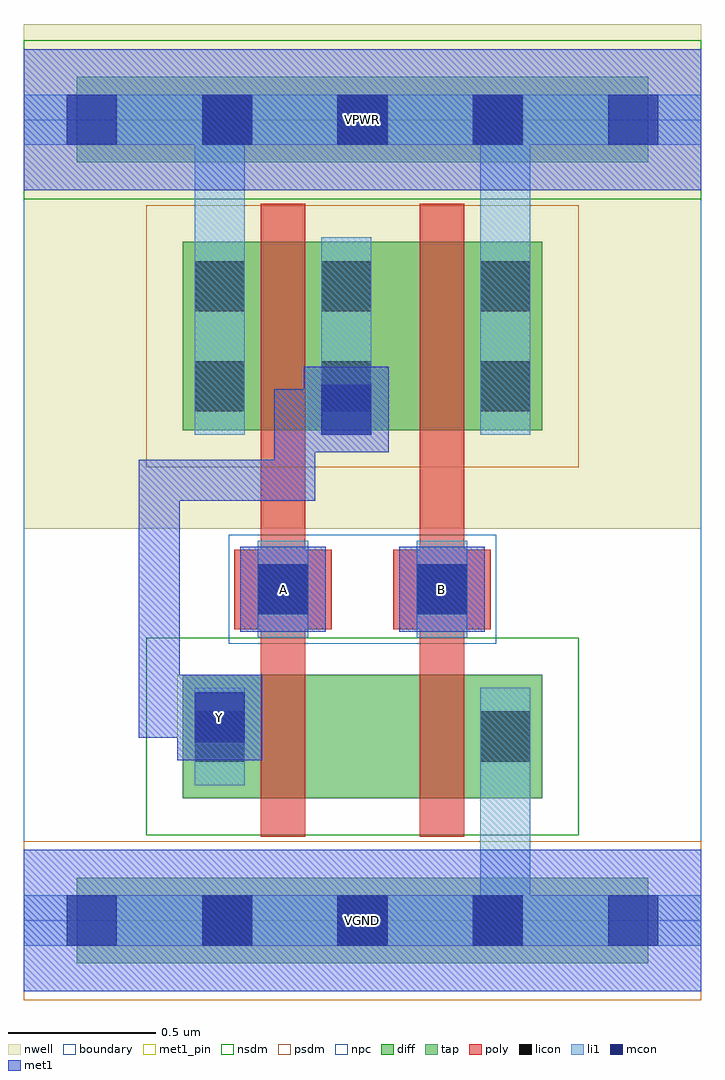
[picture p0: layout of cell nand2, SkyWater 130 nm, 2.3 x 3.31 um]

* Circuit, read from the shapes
.subckt nand2 A B VGND VPWR Y
XM1 n1 A Y VGND sky130_fd_pr__nfet_01v8 w=0.42 l=0.15
XM2 VGND B n1 VGND sky130_fd_pr__nfet_01v8 w=0.42 l=0.15
XM3 Y A VPWR VPWR sky130_fd_pr__pfet_01v8 w=0.64 l=0.15
XM4 VPWR B Y VPWR sky130_fd_pr__pfet_01v8 w=0.64 l=0.15
.ends

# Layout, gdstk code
import gdstk
lib = gdstk.Library(unit=1e-6, precision=1e-09)
def R(c, l, rs):  # rectangles x0, y0, x1, y1
    for r in rs: c.add(gdstk.rectangle(r[:2], r[2:], *l))
def A(c, l, x, y, w, h, nx, ny, dx, dy):  # array of equal rectangles
    R(c, l, [(x+i*dx, y+j*dy, x+i*dx+w, y+j*dy+h) for i in range(nx) for j in range(ny)])
nwell = (64, 20)
diff = (65, 20)
tap = (65, 44)
poly = (66, 20)
licon = (66, 44)
li1 = (67, 20)
mcon = (67, 44)
met1_pin = (68, 16)
met1 = (68, 20)
nsdm = (93, 44)
psdm = (94, 20)
npc = (95, 20)
boundary = (235, 4)

nand2 = lib.new_cell('nand2')
R(nand2, nwell, [(0,1.33,2.3,3.045)])
R(nand2, diff, [(0.54,0.415,1.76,0.835), (0.54,1.665,1.76,2.305)])
R(nand2, tap, [(0.18,-0.145,2.12,0.145), (0.18,2.575,2.12,2.865)])
R(nand2, poly, [(0.805,0.285,0.955,2.435), (1.345,0.285,1.495,2.435), (0.715,0.99,1.045,1.26), (1.255,0.99,1.585,1.26)])
A(nand2, licon, 0.605, -0.085, 0.17, 0.17, 3, 2, 0.46, 2.72)
R(nand2, licon, [(0.58,0.54,0.75,0.71), (1.55,0.54,1.72,0.71), (0.795,1.04,0.965,1.21), (1.335,1.04,1.505,1.21), (0.58,1.73,0.75,1.9), (1.01,1.73,1.18,1.9), (1.55,1.73,1.72,1.9), (0.58,2.07,0.75,2.24), (1.01,2.07,1.18,2.24), (1.55,2.07,1.72,2.24)])
R(nand2, li1, [(0,-0.085,2.3,0.085), (1.55,-0.085,1.72,0.79), (0.58,0.46,0.75,0.79), (1.55,0.46,1.72,0.79), (0.795,0.96,0.965,1.29), (1.335,0.96,1.505,1.29), (0.58,1.65,0.75,2.32), (0.58,1.65,0.75,2.805), (1.01,1.65,1.18,2.32), (1.55,1.65,1.72,2.32), (1.55,1.65,1.72,2.805), (0,2.635,2.3,2.805)])
A(nand2, mcon, 0.145, -0.085, 0.17, 0.17, 5, 2, 0.46, 2.72)
R(nand2, mcon, [(0.58,0.605,0.75,0.775), (0.795,1.04,0.965,1.21), (1.335,1.04,1.505,1.21), (1.01,1.65,1.18,1.82)])
R(nand2, met1_pin, [(0,-0.24,2.3,0.24), (0.52,0.545,0.81,0.835), (0.735,0.98,1.025,1.27), (1.275,0.98,1.565,1.27), (0,2.48,2.3,2.96)])
R(nand2, met1, [(0,-0.24,2.3,0.24), (0.52,0.545,0.81,0.835), (0.39,0.62,0.645,0.76), (0.39,0.62,0.53,1.565), (0.505,0.62,0.735,0.76), (0.735,0.98,1.025,1.27), (1.275,0.98,1.565,1.27), (0.39,1.425,0.99,1.565), (0.85,1.425,0.99,1.68), (0.85,1.54,0.99,1.805), (0.95,1.59,1.24,1.88), (0.85,1.665,1.165,1.805), (0,2.48,2.3,2.96)])
R(nand2, nsdm, [(0.415,0.29,1.885,0.96), (0,2.45,2.3,2.99)])
R(nand2, psdm, [(0,-0.27,2.3,0.27), (0.415,1.54,1.885,2.43)])
R(nand2, npc, [(0.695,0.94,1.605,1.31)])
R(nand2, boundary, [(0,0,2.3,2.72)])
nand2.add(gdstk.Label('A', (0.88,1.125), layer=68, texttype=5))
nand2.add(gdstk.Label('B', (1.42,1.125), layer=68, texttype=5))
nand2.add(gdstk.Label('Y', (0.665,0.69), layer=68, texttype=5))
nand2.add(gdstk.Label('VPWR', (1.15,2.72), layer=68, texttype=5))
nand2.add(gdstk.Label('VGND', (1.15,0), layer=68, texttype=5))
nand2.add(gdstk.Label('A', (0.88,1.125), layer=68, texttype=16))
nand2.add(gdstk.Label('B', (1.42,1.125), layer=68, texttype=16))
nand2.add(gdstk.Label('Y', (0.665,0.69), layer=68, texttype=16))
nand2.add(gdstk.Label('VPWR', (1.15,2.72), layer=68, texttype=16))
nand2.add(gdstk.Label('VGND', (1.15,0), layer=68, texttype=16))

lib.write_gds('nand2.gds')
